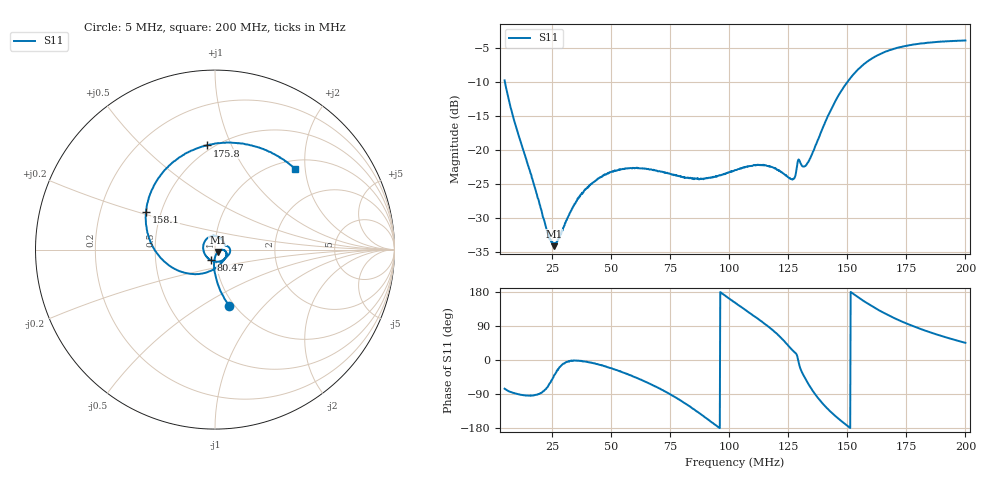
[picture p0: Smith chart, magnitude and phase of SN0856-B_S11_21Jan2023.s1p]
# Hz S DB R 50
! CMT, M5045, 22160017, 22.4.3/2
! Date: 1/21/2023 19:54:05
! Data: Format (Calibration Info)
! Freq	S11:dB/Ang(F1)
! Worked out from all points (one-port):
!   1001 points, 5 MHz to 200 MHz, reference 50 ohm
!   lowest |S11| = -34.1 dB at 25.86 MHz (marker M1), VSWR 1.04, Z = 51.5 - j1.34 ohm
!   |S11| at or under -10 dB: 5.106 MHz to 150.1 MHz (145 MHz wide, 187 % of centre)
!   S11 on the Smith chart (normalised r, x): 5 MHz: 0.95, -0.66; 80.47 MHz: 0.95, -0.11; 158.1 MHz: 0.41, +0.22; 175.8 MHz: 0.46, +0.81; 200 MHz: 1.17, +1.76
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5000000  -9.80 -75.7
8510000  -15.02 -86.4
1.241e7  -19.47 -92.3
2.3135e7  -32.16 -71.9
2.5865e7  -34.09 -41.4
2.9375e7  -31.84 -12.5
3.4445e7  -28.07 -1.3
3.9515e7  -25.64 -4.3
5.375e7  -22.90 -29.0
6.389e7  -22.70 -55.4
7.8125e7  -23.79 -101.2
8.0465e7  -23.99 -111.0
8.924e7  -24.18 -148.3
1.025e8  -22.94 151.5
1.1498e8  -22.24 95.8
1.26875e8  -24.33 25.5
1.29605e8  -21.44 -10.9
1.3175e8  -22.42 -43.3
1.337e8  -21.62 -64.9
1.4111e8  -15.57 -125.2
1.4618e8  -12.09 -154.2
1.5125e8  -9.48 -179.4
1.58075e8  -7.16 151.1
1.67045e8  -5.50 119.4
1.75625e8  -4.70 94.9
1.7582e8  -4.70 94.4
1.86155e8  -4.22 70.8
2e8  -3.96 45.4
